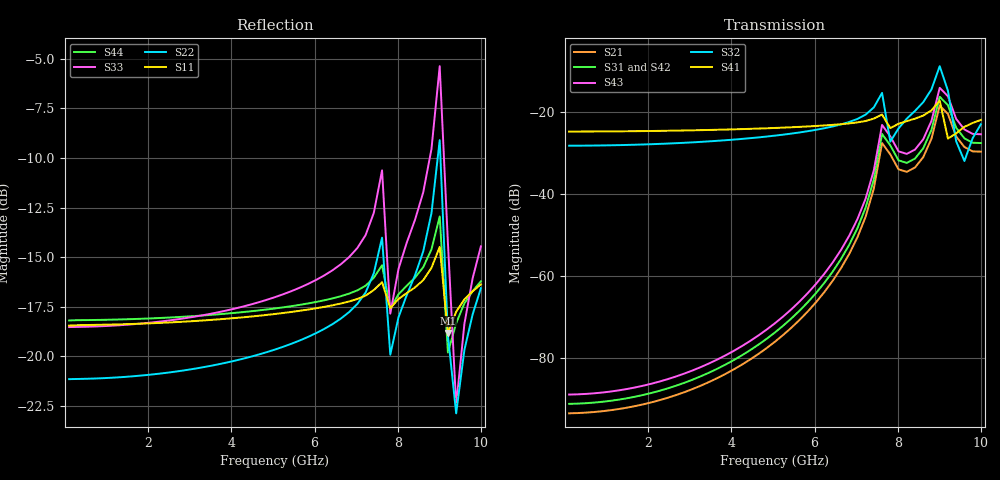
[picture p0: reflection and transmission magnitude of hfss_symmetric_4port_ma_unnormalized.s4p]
! Touchstone file exported from HFSS 2025.2.0
!  File:  C:/hfss/touchstone_fixtures.aedt
!  Generated:  11:30:41 PM Aug 25, 2026
!  Design:  symmetric_4port
!  Project:  touchstone_fixtures
!  Setup:  Setup1
!  Solution:  Sweep
!Data is not renormalized
# GHz S MA
! Terminal data exported
! Port[1] = 1
! Port[2] = 2
! Port[3] = 3
! Port[4] = 4
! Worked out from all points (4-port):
!   51 points, 100 MHz to 10 GHz, reference per port
!   strongest paths, dB at 100 MHz, 2.476 GHz, 5.05 GHz, 7.624 GHz, 10 GHz:
!     S41: -24.7, -24.5, -23.8, -20.5, -21.8
!     S32: -28.1, -27.6, -25.7, -15.2, -22.9
!     S43: -89.0, -85.2, -71.5, -23.1, -25.3
!     S31: -91.3, -87.4, -73.8, -25.3, -27.5
!     S42: -91.3, -87.5, -73.8, -25.3, -27.4
!     S21: -93.6, -89.7, -76.0, -27.5, -29.6
!   lowest |S11| = -18.8 dB at 9.208 GHz (marker M1), VSWR 1.26
!   |S11| at or under -10 dB: start of sweep to end of sweep
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0.1  0.1195 0.3  2.099e-05 0.3  2.738e-05 0.3  0.05823 -179.8
     2.099e-05 0.3  0.0876 0.1  0.03917 0.1  2.725e-05 -179.8
     2.738e-05 0.3  0.03917 0.1  0.1185 0.0  3.559e-05 -179.8
     0.05823 -179.8  2.725e-05 -179.8  3.559e-05 -179.8  0.1231 0.1
4.654  0.1265 -0.0  0.0001118 -2.2  0.0001453 -2.2  0.0635 179.9
       0.0001118 -2.2  0.101 -0.2  0.04953 -0.3  0.0001448 177.7
       0.0001453 -2.2  0.04953 -0.3  0.1368 -0.2  0.0001882 177.7
       0.0635 179.9  0.0001448 177.7  0.0001882 177.7  0.1305 -0.1
6.634  0.1359 -0.2  0.001241 -7.5  0.001606 -7.5  0.07178 179.6
       0.001241 -7.5  0.1245 -0.7  0.07131 -1.2  0.001604 172.5
       0.001606 -7.5  0.07131 -1.2  0.1707 -0.8  0.002076 172.5
       0.07178 179.6  0.001604 172.5  0.002076 172.5  0.1418 -0.3
7.624  0.1538 -7.4  0.04223 -65.1  0.05445 -65.1  0.09417 164.3
       0.04223 -65.1  0.1992 -23.7  0.1733 -36.4  0.05449 114.9
       0.05445 -65.1  0.1733 -36.4  0.2943 -26.8  0.07026 114.9
       0.09417 164.3  0.05449 114.9  0.07026 114.9  0.1697 -11.2
9.208  0.1144 -14.2  0.09589 33.9  0.1227 33.9  0.04791 131.7
       0.09589 33.9  0.1128 -92.9  0.1843 -129.0  0.1232 -146.1
       0.1227 33.9  0.1843 -129.0  0.1926 -107.0  0.1577 -146.1
       0.04791 131.7  0.1232 -146.1  0.1577 -146.1  0.1022 -26.7
9.604  0.1392 -1.6  0.03776 5.9  0.04822 5.9  0.06666 175.9
       0.03776 5.9  0.1039 -8.3  0.02547 -44.6  0.04846 -174.1
       0.04822 5.9  0.02547 -44.6  0.1208 -11.3  0.06189 -174.1
       0.06666 175.9  0.04846 -174.1  0.06189 -174.1  0.136 -2.6
10  0.1518 -1.2  0.03315 -1.2  0.04222 -1.2  0.08101 177.5
    0.03315 -1.2  0.1485 -4.3  0.07173 -10.3  0.04247 178.8
    0.04222 -1.2  0.07173 -10.3  0.1893 -5.2  0.0541 178.8
    0.08101 177.5  0.04247 178.8  0.0541 178.8  0.1546 -1.7
